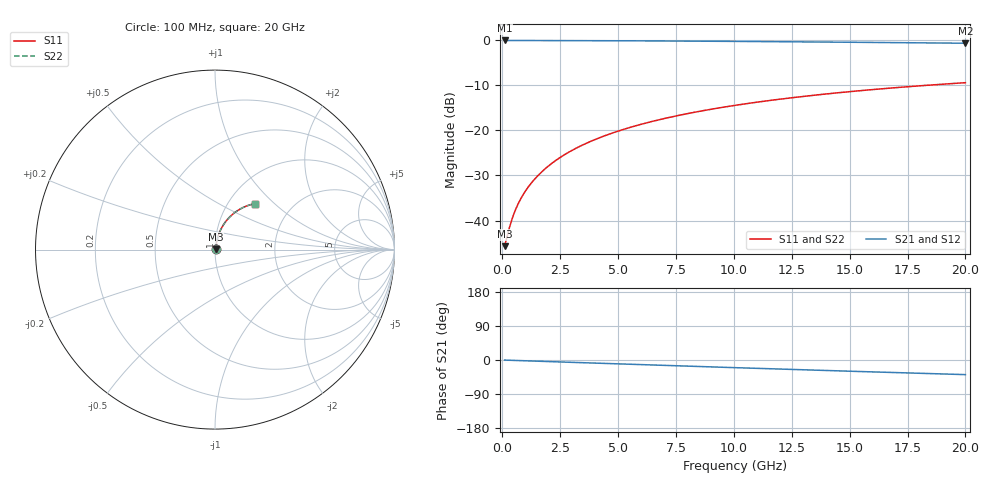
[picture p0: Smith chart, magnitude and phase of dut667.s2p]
! Touchstone file exported from HFSS 2026.1.0
!  File:  C:/ffzhzh/LocalFiles/Ansys_Project_Files/temp_train_BSMRDL_667_1783017256_46388.aedt
!  Generated:  02:35:34 AM Jul  3, 2026
!  Design:  BSMRDL
!  Project:  temp_train_BSMRDL_667_1783017256_46388
! Variables:
!  h_bsmrdl = 2.82um
!  h_ox = 20um
!  h_rdl = 5um
!  h_sub = 80um
!  h_tmrdl = 5um
!  h_tsv = 80um
!  h_via = 3um
!  l_bsmrdl = 579.86um
!  l_sub = 979.86um
!  l_tmrdl = 200um
!  m_sub = 200um
!  pitch = 33.48um
!  r_tsv = 6um
!  s_tmrdl = 10um
!  w_bsmrdl = 16.04um
!  w_sub = 500um
!  w_tmrdl = 12um
!  x_tsv_center1 = 206um
!  x_tsv_center2 = 801.9um
!  x_tsv_center3 = 1013.9um
!  x_tsv_center4 = 1609.8um
!  x_tsv_center5 = 1821.8um
!  x_tsv_center6 = 2417.7um
# GHz S MA R 50.000000
! Terminal data exported
! Port[1] = BSM_RDL1_1_T1
! Port[2] = BSM_RDL1_1_T2
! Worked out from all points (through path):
!   200 points, 100 MHz to 20 GHz, reference 50 ohm
!   highest |S21| = -0.04 dB at 100 MHz (marker M1); lowest = -0.7 dB at 20 GHz (marker M2)
!   group delay of S21, straight-line fit = 5.37 ps
!   lowest |S11| = -45.7 dB at 100 MHz (marker M3), VSWR 1.01, Z = 50.5 + j0.222 ohm
!   |S11| at or under -10 dB: start of sweep to 18.31 GHz
!   |S22| runs from -45.7 to -9.4 dB; largest |S21 - S12| = 3.4e-15
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0.1  0.00519 25.1  0.9953 -0.2  0.9953 -0.2  0.00519 25.1
! Gamma 0 0 0 0
! Port Impedance 50 0 50 0
0.3  0.008188 52.2  0.995 -0.7  0.995 -0.7  0.008188 52.2
0.4  0.009997 58.4  0.9949 -0.9  0.9949 -0.9  0.009997 58.4
0.5  0.01185 62.6  0.9947 -1.1  0.9947 -1.1  0.01185 62.6
0.6  0.01372 65.6  0.9945 -1.3  0.9945 -1.3  0.01372 65.6
0.7  0.01559 67.8  0.9944 -1.5  0.9944 -1.5  0.01559 67.8
0.9  0.01935 71.0  0.9941 -1.9  0.9941 -1.9  0.01935 71.0
1.2  0.02504 73.9  0.9938 -2.5  0.9938 -2.5  0.02504 73.9
1.4  0.02886 75.2  0.9936 -2.9  0.9936 -2.9  0.02886 75.2
1.7  0.03463 76.4  0.9933 -3.5  0.9933 -3.5  0.03463 76.4
2.2  0.04429 77.4  0.9928 -4.5  0.9928 -4.5  0.04429 77.3
2.8  0.05591 77.6  0.992 -5.8  0.992 -5.8  0.05591 77.6
3.5  0.06944 77.3  0.9909 -7.2  0.9909 -7.2  0.06944 77.3
4.2  0.08289 76.6  0.9896 -8.6  0.9896 -8.6  0.08289 76.6
5  0.09814 75.5  0.9879 -10.2  0.9879 -10.2  0.09814 75.5
5.9  0.1151 74.1  0.9856 -12.0  0.9856 -12.0  0.1151 74.1
6.8  0.1318 72.6  0.9831 -13.8  0.9831 -13.8  0.1318 72.6
8.3  0.159 69.9  0.9783 -16.8  0.9783 -16.8  0.159 69.9
10.1  0.1904 66.7  0.9717 -20.3  0.9717 -20.3  0.1904 66.7
13.4  0.2446 60.7  0.9581 -26.6  0.9581 -26.6  0.2446 60.7
16.7  0.2939 54.8  0.943 -32.7  0.943 -32.7  0.2939 54.8
20  0.3382 49.1  0.9273 -38.6  0.9273 -38.6  0.3382 49.1
